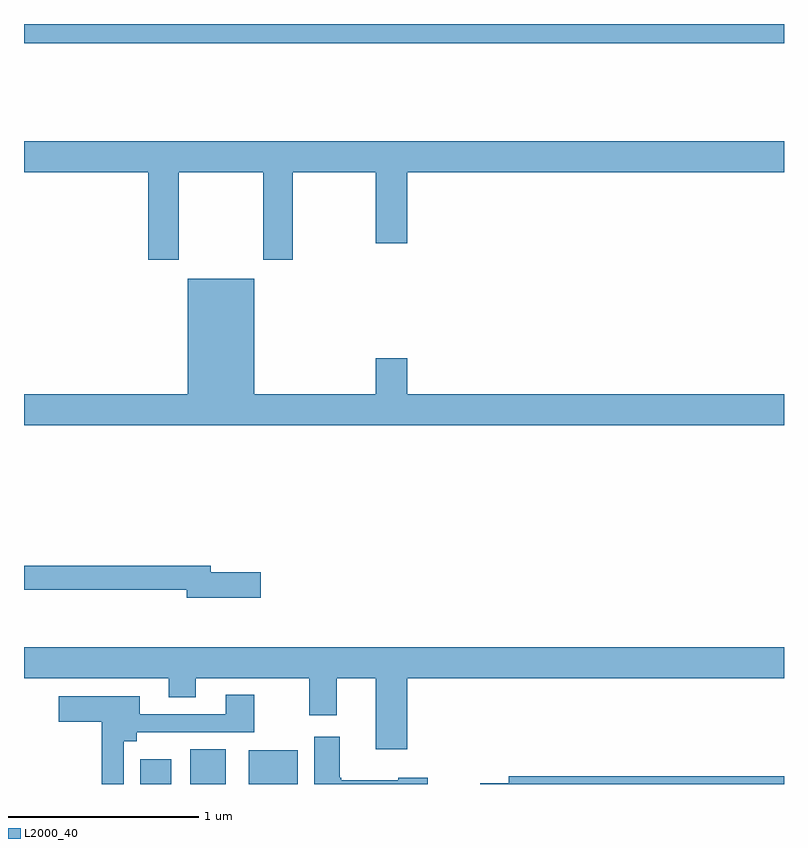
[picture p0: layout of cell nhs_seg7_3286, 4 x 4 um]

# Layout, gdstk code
import gdstk
lib = gdstk.Library(unit=1e-6, precision=1e-09)
def R(c, l, rs):  # rectangles x0, y0, x1, y1
    for r in rs: c.add(gdstk.rectangle(r[:2], r[2:], *l))
def P(c, l, *ps):  # polygons
    for p in ps: c.add(gdstk.Polygon(p, *l))
L2000_40 = (2000, 40)

nhs_seg7_3286 = lib.new_cell('nhs_seg7_3286')
R(nhs_seg7_3286, L2000_40, [(319.613,1060,319.774,1060.129), (319.874,1060,320.062,1060.183), (320.183,1060,320.44,1060.177), (319,1063.9,323,1064)])
P(nhs_seg7_3286, L2000_40, [(319.815,1063.22),(320.26,1063.22),(320.26,1062.759),(320.415,1062.759),(320.415,1063.22),(320.852,1063.22),(320.852,1062.846),(321.016,1062.846),(321.016,1063.22),(323,1063.22),(323,1063.384),(319,1063.384),(319,1063.22),(319.655,1063.22),(319.655,1062.759),(319.815,1062.759)],
  [(323,1062.052),(321.016,1062.052),(321.016,1062.241),(320.852,1062.241),(320.852,1062.052),(320.212,1062.052),(320.212,1062.658),(319.862,1062.658),(319.862,1062.052),(319,1062.052),(319,1061.888),(323,1061.888)],
  [(320.245,1061.114),(319.984,1061.114),(319.984,1061.15),(319,1061.15),(319,1061.022),(319.856,1061.022),(319.856,1060.979),(320.245,1060.979)],
  [(321.016,1060.556),(323,1060.556),(323,1060.72),(319,1060.72),(319,1060.556),(319.763,1060.556),(319.763,1060.457),(319.903,1060.457),(319.903,1060.556),(320.5,1060.556),(320.5,1060.362),(320.647,1060.362),(320.647,1060.556),(320.852,1060.556),(320.852,1060.182),(321.016,1060.182)],
  [(319.524,1060.226),(319.594,1060.226),(319.594,1060.272),(320.211,1060.272),(320.211,1060.471),(320.063,1060.471),(320.063,1060.368),(319.609,1060.368),(319.609,1060.462),(319.182,1060.462),(319.182,1060.328),(319.408,1060.328),(319.408,1060),(319.524,1060)],
  [(321.124,1060.033),(320.97,1060.033),(320.97,1060.021),(320.67,1060.021),(320.67,1060.033),(320.662,1060.033),(320.662,1060.249),(320.528,1060.249),(320.528,1060),(321.124,1060)],
  [(323,1060.04),(321.551,1060.04),(321.551,1060.004),(321.402,1060.004),(321.402,1060),(323,1060)])

lib.write_gds('nhs_seg7_3286.gds')
